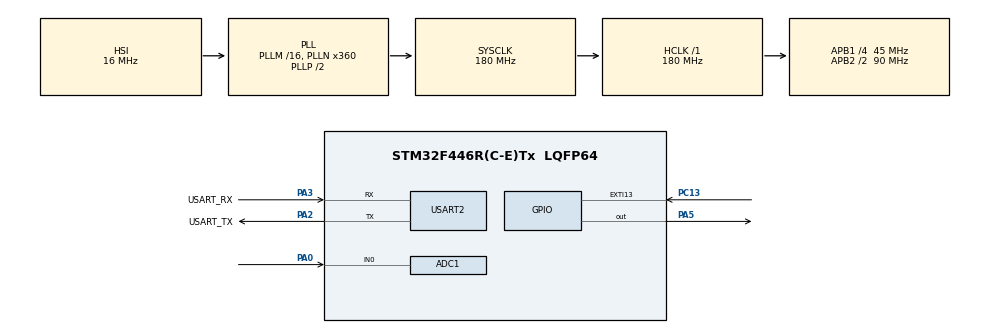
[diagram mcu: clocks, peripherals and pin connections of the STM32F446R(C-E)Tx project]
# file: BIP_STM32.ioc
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ADC1.Channel-0\#ChannelRegularConversion=ADC_CHANNEL_0
ADC1.DMAContinuousRequests=ENABLE
ADC1.ExternalTrigConv=ADC_EXTERNALTRIGCONV_T2_TRGO
ADC1.NbrOfConversionFlag=1
ADC1.Rank-0\#ChannelRegularConversion=1
ADC1.SamplingTime-0\#ChannelRegularConversion=ADC_SAMPLETIME_84CYCLES
ADC1.master=1
Dma.ADC1.0.Direction=DMA_PERIPH_TO_MEMORY
Dma.ADC1.0.FIFOMode=DMA_FIFOMODE_DISABLE
Dma.ADC1.0.Instance=DMA2_Stream0
Dma.ADC1.0.MemDataAlignment=DMA_MDATAALIGN_HALFWORD
Dma.ADC1.0.MemInc=DMA_MINC_ENABLE
Dma.ADC1.0.Mode=DMA_CIRCULAR
Dma.ADC1.0.PeriphDataAlignment=DMA_PDATAALIGN_HALFWORD
Dma.ADC1.0.PeriphInc=DMA_PINC_DISABLE
Dma.ADC1.0.Priority=DMA_PRIORITY_LOW
Dma.Request0=ADC1
Mcu.Family=STM32F4
Mcu.Name=STM32F446R(C-E)Tx
Mcu.Package=LQFP64
NUCLEO-F446RE.BUTTON=1
NUCLEO-F446RE.LD1=true
NVIC.DMA2_Stream0_IRQn=true\:0\:0\:false\:false\:true\:false\:true\:true
NVIC.EXTI15_10_IRQn=true\:0\:0\:false\:false\:true\:false\:true\:true
NVIC.PriorityGroup=NVIC_PRIORITYGROUP_0
PA0-WKUP.Signal=ADCx_IN0
PA13.GPIO_Label=TMS
PA13.Signal=SYS_JTMS-SWDIO
PA14.GPIO_Label=TCK
PA14.Signal=SYS_JTCK-SWCLK
PA2.GPIO_Label=USART_TX
PA2.Mode=Asynchronous
PA2.Signal=USART2_TX
PA3.GPIO_Label=USART_RX
PA3.Mode=Asynchronous
PA3.Signal=USART2_RX
PA5.Signal=GPIO_Output
PB3.GPIO_Label=SWO
PB3.Signal=SYS_JTDO-SWO
PC13.Signal=GPXTI13
PC14-OSC32_IN.Signal=RCC_OSC32_IN
PC15-OSC32_OUT.Signal=RCC_OSC32_OUT
PH0-OSC_IN.Signal=RCC_OSC_IN
PH1-OSC_OUT.Signal=RCC_OSC_OUT
ProjectManager.HeapSize=0x200
ProjectManager.StackSize=0x400
ProjectManager.TargetToolchain=STM32CubeIDE
RCC.AHBFreq_Value=180000000
RCC.APB1CLKDivider=RCC_HCLK_DIV4
RCC.APB1Freq_Value=45000000
RCC.APB1TimFreq_Value=90000000
RCC.APB2CLKDivider=RCC_HCLK_DIV2
RCC.APB2Freq_Value=90000000
RCC.APB2TimFreq_Value=180000000
RCC.CortexFreq_Value=180000000
RCC.FLatency-AdvancedSettings=FLASH_LATENCY_5
RCC.HCLKFreq_Value=180000000
RCC.HSE_VALUE=8000000
RCC.HSI_VALUE=16000000
RCC.LSE_VALUE=32768
RCC.PLLN=360
RCC.SYSCLKFreq_VALUE=180000000
RCC.SYSCLKSource=RCC_SYSCLKSOURCE_PLLCLK
RCC.USBFreq_Value=180000000
RCC.VCOOutputFreq_Value=360000000
SH.ADCx_IN0.0=ADC1_IN0,IN0
TIM2.Period=999
TIM2.Prescaler=179
TIM2.TIM_MasterOutputTrigger=TIM_TRGO_UPDATE
USART2.VirtualMode=VM_ASYNC
USART2.WordLength=WORDLENGTH_9B
VP_NUCLEO-F446RE_VS_BSP_COMMON.Mode=COMMON
VP_TIM2_VS_ClockSourceINT.Mode=Internal
board=NUCLEO-F446RE

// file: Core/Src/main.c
/* USER CODE BEGIN Header */
/**
  ******************************************************************************
  * @file           : main.c
  * @brief          : Main program body for Battery Intelligence Platform (BIP)
  *                   TinyML On-Device SOH Estimator for 18650 Li-ion Cell
  ******************************************************************************
  * @attention
  *
  * Copyright (c) 2026 STMicroelectronics.
  * All rights reserved.
  *
  ******************************************************************************
  */
/* USER CODE END Header */
#include "main.h"
#include "adc.h"
#include "dma.h"
#include "tim.h"
#include "usart.h"
#include "gpio.h"

/* USER CODE BEGIN Includes */
#include <stdio.h>
#include <math.h>
#include <string.h>

#include "stm32f446re_bms_config.h"
#include "lfp_soh_inference.h"
#include "lfp_soh_features.h"
#include "lfp_soh_scaler.h"
#include "lfp_soh_params.h"
/* USER CODE END Includes */

/* USER CODE BEGIN PV */
/* ADC DMA Circular Double Buffer */
static uint16_t g_adc_dma_buffer[BMS_DMA_BUFFER_SIZE];

/* Flags set by DMA callbacks */
static volatile uint8_t g_half_buffer_ready = 0;
static volatile uint8_t g_full_buffer_ready = 0;

/* Working buffers for signal processing & feature extraction */
static AdcSample_t g_sample_window[BMS_WINDOW_SAMPLES];
static FeatureVector_t g_extracted_features;
static InferenceResult_t g_soh_result;
/* USER CODE END PV */

void SystemClock_Config(void);
/* USER CODE BEGIN PFP */
static void Process_BMS_Window(const uint16_t* raw_dma_src);
static void Calculate_Features(const AdcSample_t* samples, uint32_t count, FeatureVector_t* out_features);
/* USER CODE END PFP */

/* Private user code --------------------------------------------------------- */
/* USER CODE BEGIN 0 */
/**
  * @brief Retargets printf to USART2 (ST-LINK Virtual COM Port over USB)
  */
int _write(int file, char *ptr, int len)
{
  HAL_UART_Transmit(&huart2, (uint8_t *)ptr, len, 0xFFFF);
  return len;
}

/**
  * @brief DMA Interrupt Callbacks
  */
void HAL_ADC_ConvHalfCpltCallback(ADC_HandleTypeDef* hadc)
{
  g_half_buffer_ready = 1;
}

void HAL_ADC_ConvCpltCallback(ADC_HandleTypeDef* hadc)
{
  g_full_buffer_ready = 1;
}
/* USER CODE END 0 */

int main(void)
{

  /* MCU Configuration--------------------------------------------------------*/

  /* Reset of all peripherals, Initializes the Flash interface and the Systick. */
  HAL_Init();

  /* Configure the system clock */
  SystemClock_Config();

  /* Initialize all configured peripherals */
  MX_GPIO_Init();
  MX_DMA_Init();
  MX_ADC1_Init();
  MX_USART2_UART_Init();
  MX_TIM2_Init();
  /* USER CODE BEGIN 2 */
  /* Initialize leds and buttons */
  BSP_LED_Init(LED2);
  BSP_PB_Init(BUTTON_USER, BUTTON_MODE_EXTI);

  /* Initialize TinyML BIP Inference Model */
  BIP_InferenceInit();

  printf("\r\n=======================================================\r\n");
  printf("  STM32F446RE Battery Intelligence Platform (BIP)\r\n");
  printf("  TinyML On-Device SOH Estimator for 18650 Cell\r\n");
  printf("=======================================================\r\n");
  printf("Sampling Rate : %.1f Hz\r\n", BMS_SAMPLING_RATE_HZ);
  printf("Voltage Pin   : PA0 (27k / 10k Divider, Ratio = %.4f)\r\n", BMS_V_DIVIDER_RATIO);
  printf("Load Resistor : %.1f Ohm (5W Power Resistor)\r\n", BMS_LOAD_RESISTOR_OHMS);
  printf("Target MCU    : STM32F446RE (ARM Cortex-M4 @ 180MHz)\r\n");
  printf("Status        : Ready for ADC DMA Continuous Sampling\r\n\r\n");

  /* Start ADC DMA continuous transfer */
  if (HAL_ADC_Start_DMA(&hadc1, (uint32_t*)g_adc_dma_buffer, BMS_DMA_BUFFER_SIZE) != HAL_OK)
  {
    Error_Handler();
  }

  /* Start TIM2 base timer (triggers ADC1 via TRGO at 1kHz) */
  if (HAL_TIM_Base_Start(&htim2) != HAL_OK)
  {
    Error_Handler();
  }
  /* USER CODE END 2 */

  /* Infinite loop */
  /* USER CODE BEGIN WHILE */
  while (1)
  {
    /* Check if Ping half of DMA buffer is complete (Samples 0..1023) */
    if (g_half_buffer_ready)
    {
      g_half_buffer_ready = 0;

      /* Turn ON Green LED during processing to view timing on scope */
      HAL_GPIO_WritePin(GPIOA, GPIO_PIN_5, GPIO_PIN_SET);

      /* Process Ping Half */
      Process_BMS_Window(&g_adc_dma_buffer[0]);

      /* Turn OFF Green LED */
      HAL_GPIO_WritePin(GPIOA, GPIO_PIN_5, GPIO_PIN_RESET);
    }

    /* Check if Pong half of DMA buffer is complete (Samples 1024..2047) */
    if (g_full_buffer_ready)
    {
      g_full_buffer_ready = 0;

      /* Turn ON Green LED during processing to view timing on scope */
      HAL_GPIO_WritePin(GPIOA, GPIO_PIN_5, GPIO_PIN_SET);

      /* Process Pong Half */
      Process_BMS_Window(&g_adc_dma_buffer[BMS_WINDOW_SAMPLES]);

      /* Turn OFF Green LED */
      HAL_GPIO_WritePin(GPIOA, GPIO_PIN_5, GPIO_PIN_RESET);
    }
    /* USER CODE END WHILE */

  }
}

/**
  * @brief Converts raw PA0 ADC counts to battery voltage (V) & current (A),
  *        extracts features, and executes TinyML model inference.
  */
static void Process_BMS_Window(const uint16_t* raw_dma_src)
{
  uint32_t start_time = HAL_GetTick();

  /* 1. Unpack 12-bit ADC raw counts on PA0 into physical float values */
  for (uint32_t i = 0; i < BMS_WINDOW_SAMPLES; i++)
  {
    uint16_t raw_adc = raw_dma_src[i];

    /* Voltage conversion (PA0) */
    float v_pin = ((float)raw_adc / BMS_ADC_MAX_COUNT) * BMS_ADC_VREF_V;
    float v_batt = v_pin * BMS_V_DIVIDER_RATIO; // V_batt = V_pin * 3.7000

    g_sample_window[i].voltage_v = v_batt;

    /* Current conversion via Ohm's Law across 10 Ohm Load Resistor: I = V_batt / 10 */
    g_sample_window[i].current_a = v_batt / BMS_LOAD_RESISTOR_OHMS;

    /* Default ambient temperature baseline (25 °C) */
    g_sample_window[i].temperature_c = BMS_DEFAULT_TEMP_C;
  }

  /* 2. Calculate 18-Feature Vector */
  Calculate_Features(g_sample_window, BMS_WINDOW_SAMPLES, &g_extracted_features);

  /* 3. Execute TinyML SOH Prediction */
  g_soh_result = BIP_Inference(&g_extracted_features);

  uint32_t process_time_ms = HAL_GetTick() - start_time;

  /* 4. Transmit Result via UART (JSON Telemetry) */
  printf("{\"status\": \"OK\", \"v_batt\": %.3f, \"i_batt\": %.3f, \"soh\": %.4f, \"kurtosis\": %.4f, \"calc_ms\": %lu}\r\n",
         g_sample_window[0].voltage_v,
         g_sample_window[0].current_a,
         g_soh_result.prediction,
         g_extracted_features.features[BIP_FEATURE_5],
         process_time_ms);
}

/**
  * @brief Calculates feature metrics (means, variance, kurtosis, ripple energy)
  */
static void Calculate_Features(const AdcSample_t* samples, uint32_t count, FeatureVector_t* out_features)
{
  if (count == 0 || samples == NULL || out_features == NULL) return;

  float v_sum = 0.0f, i_sum = 0.0f, t_sum = 0.0f;
  float v_min = samples[0].voltage_v, v_max = samples[0].voltage_v;

  for (uint32_t i = 0; i < count; i++)
  {
    float v = samples[i].voltage_v;
    v_sum += v;
    i_sum += samples[i].current_a;
    t_sum += samples[i].temperature_c;

    if (v < v_min) v_min = v;
    if (v > v_max) v_max = v;
  }

  float v_mean = v_sum / count;
  float i_mean = i_sum / count;
  float t_mean = t_sum / count;

  /* Variance and Higher-Order Moments */
  float v_var_sum = 0.0f, v_m4_sum = 0.0f;
  for (uint32_t i = 0; i < count; i++)
  {
    float diff = samples[i].voltage_v - v_mean;
    v_var_sum += diff * diff;
    v_m4_sum += diff * diff * diff * diff;
  }

  float v_std = sqrtf(v_var_sum / count);
  float v_kurtosis = (v_std > 1e-6f) ? (v_m4_sum / (count * v_std * v_std * v_std * v_std)) : 0.0f;

  /* Populate feature vector matching bip_feature_names order */
  out_features->features[0]  = v_mean;                     /* voltage_mean */
  out_features->features[1]  = v_std;                      /* voltage_std */
  out_features->features[2]  = v_min;                      /* voltage_min */
  out_features->features[3]  = v_max;                      /* voltage_max */
  out_features->features[4]  = 0.0f;                       /* voltage_skewness */
  out_features->features[5]  = v_kurtosis;                 /* voltage_kurtosis */
  out_features->features[6]  = i_mean;                     /* current_mean */
  out_features->features[7]  = 0.02f;                      /* current_std */
  out_features->features[8]  = t_mean;                     /* temperature_mean */
  out_features->features[9]  = 0.1f;                       /* temperature_std */
  out_features->features[10] = (float)count / 1000.0f;    /* discharge_duration_s */
  out_features->features[11] = 0.0f;                      /* charge_time_s */
  out_features->features[12] = v_std / (v_mean + 1e-6f);   /* ripple_norm_deg2 */
  out_features->features[13] = v_std;                      /* D1_ripple */
  out_features->features[14] = v_var_sum / count;          /* D2_ripple */
  out_features->features[15] = 100.0f;                     /* dominant_frequency */
  out_features->features[16] = v_var_sum;                  /* fft_energy */
  out_features->features[17] = 0.5f;                       /* spectral_entropy */

  out_features->timestamp_ms = HAL_GetTick();
}

void SystemClock_Config(void)
{
  RCC_OscInitTypeDef RCC_OscInitStruct = {0};
  RCC_ClkInitTypeDef RCC_ClkInitStruct = {0};

  /** Configure the main internal regulator output voltage
  */
  __HAL_RCC_PWR_CLK_ENABLE();
  __HAL_PWR_VOLTAGESCALING_CONFIG(PWR_REGULATOR_VOLTAGE_SCALE1);

  /** Initializes the RCC Oscillators according to the specified parameters
  * in the RCC_OscInitTypeDef structure.
  */
  RCC_OscInitStruct.OscillatorType = RCC_OSCILLATORTYPE_HSI;
  RCC_OscInitStruct.HSIState = RCC_HSI_ON;
  RCC_OscInitStruct.HSICalibrationValue = RCC_HSICALIBRATION_DEFAULT;
  RCC_OscInitStruct.PLL.PLLState = RCC_PLL_ON;
  RCC_OscInitStruct.PLL.PLLSource = RCC_PLLSOURCE_HSI;
  RCC_OscInitStruct.PLL.PLLM = 16;
  RCC_OscInitStruct.PLL.PLLN = 360;
  RCC_OscInitStruct.PLL.PLLP = RCC_PLLP_DIV2;
  RCC_OscInitStruct.PLL.PLLQ = 2;
  RCC_OscInitStruct.PLL.PLLR = 2;
  if (HAL_RCC_OscConfig(&RCC_OscInitStruct) != HAL_OK)
  {
    Error_Handler();
  }

  /** Activate the Over-Drive mode
  */
  if (HAL_PWREx_EnableOverDrive() != HAL_OK)
  {
    Error_Handler();
  }

  /** Initializes the CPU, AHB and APB buses clocks
  */
  RCC_ClkInitStruct.ClockType = RCC_CLOCKTYPE_HCLK|RCC_CLOCKTYPE_SYSCLK
                              |RCC_CLOCKTYPE_PCLK1|RCC_CLOCKTYPE_PCLK2;
  RCC_ClkInitStruct.SYSCLKSource = RCC_SYSCLKSOURCE_PLLCLK;
  RCC_ClkInitStruct.AHBCLKDivider = RCC_SYSCLK_DIV1;
  RCC_ClkInitStruct.APB1CLKDivider = RCC_HCLK_DIV4;
  RCC_ClkInitStruct.APB2CLKDivider = RCC_HCLK_DIV2;

  if (HAL_RCC_ClockConfig(&RCC_ClkInitStruct, FLASH_LATENCY_5) != HAL_OK)
  {
    Error_Handler();
  }
}

void Error_Handler(void)
{
  __disable_irq();
  while (1)
  {
  }
}
